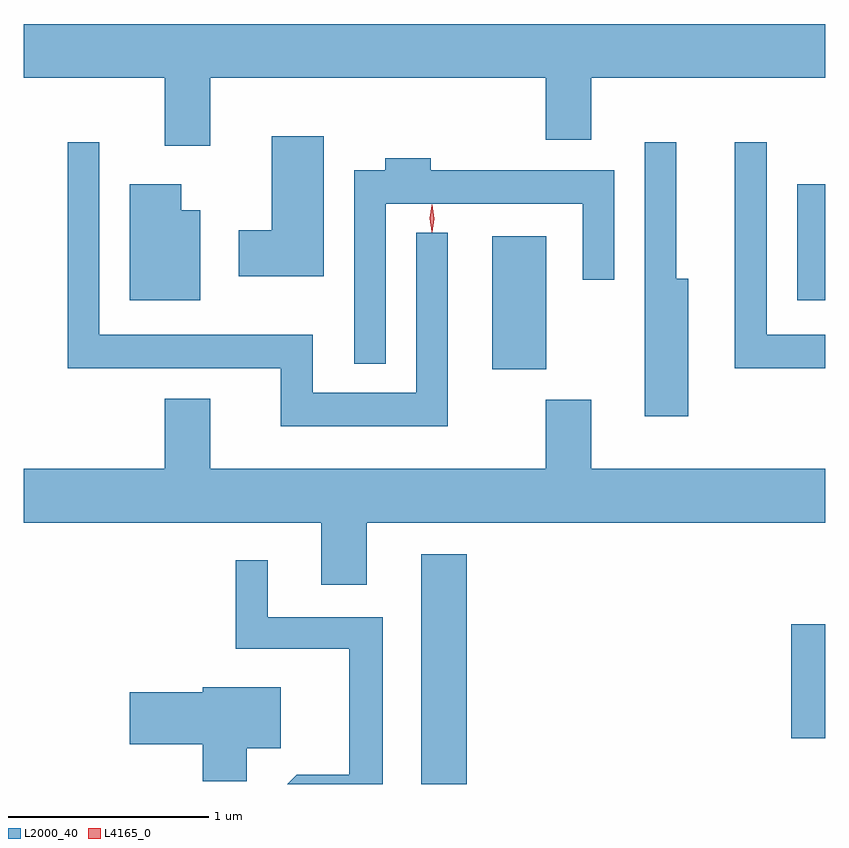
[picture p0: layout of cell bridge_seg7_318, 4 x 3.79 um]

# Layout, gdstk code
import gdstk
lib = gdstk.Library(unit=1e-6, precision=1e-09)
def R(c, l, rs):  # rectangles x0, y0, x1, y1
    for r in rs: c.add(gdstk.rectangle(r[:2], r[2:], *l))
def P(c, l, *ps):  # polygons
    for p in ps: c.add(gdstk.Polygon(p, *l))
L2000_40 = (2000, 40)
L4165_0 = (4165, 0)

bridge_seg7_318 = lib.new_cell('bridge_seg7_318')
R(bridge_seg7_318, L2000_40, [(1205.021,1761.852,1205.249,1762.999), (1206.866,1762.081,1207.037,1762.649), (1205.376,1763.921,1205.644,1764.584), (1206.896,1764.266,1207.037,1764.844)])
P(bridge_seg7_318, L2000_40, [(1203.969,1765.376),(1205.641,1765.376),(1205.641,1765.066),(1205.869,1765.066),(1205.869,1765.376),(1207.037,1765.376),(1207.037,1765.644),(1203.037,1765.644),(1203.037,1765.376),(1203.741,1765.376),(1203.741,1765.036),(1203.969,1765.036)],
  [(1204.534,1765.084),(1204.276,1765.084),(1204.276,1764.614),(1204.111,1764.614),(1204.111,1764.386),(1204.534,1764.386)],
  [(1206.354,1764.374),(1206.294,1764.374),(1206.294,1765.053),(1206.136,1765.053),(1206.136,1763.686),(1206.354,1763.686)],
  [(1205.154,1764.603),(1204.996,1764.603),(1204.996,1763.804),(1204.479,1763.804),(1204.479,1764.094),(1203.414,1764.094),(1203.414,1765.053),(1203.256,1765.053),(1203.256,1763.926),(1204.321,1763.926),(1204.321,1763.636),(1205.154,1763.636)],
  [(1207.037,1764.094),(1206.744,1764.094),(1206.744,1765.053),(1206.586,1765.053),(1206.586,1763.926),(1207.037,1763.926)],
  [(1204.844,1764.746),(1205.826,1764.746),(1205.826,1764.368),(1205.984,1764.368),(1205.984,1764.914),(1205.069,1764.914),(1205.069,1764.974),(1204.841,1764.974),(1204.841,1764.914),(1204.686,1764.914),(1204.686,1763.948),(1204.844,1763.948)],
  [(1203.919,1764.714),(1203.824,1764.714),(1203.824,1764.844),(1203.566,1764.844),(1203.566,1764.266),(1203.919,1764.266)],
  [(1204.749,1763.156),(1207.037,1763.156),(1207.037,1763.424),(1205.869,1763.424),(1205.869,1763.769),(1205.641,1763.769),(1205.641,1763.424),(1203.969,1763.424),(1203.969,1763.774),(1203.741,1763.774),(1203.741,1763.424),(1203.037,1763.424),(1203.037,1763.156),(1204.521,1763.156),(1204.521,1762.846),(1204.749,1762.846)],
  [(1204.829,1762.684),(1204.254,1762.684),(1204.254,1762.968),(1204.096,1762.968),(1204.096,1762.526),(1204.661,1762.526),(1204.661,1761.899),(1204.399,1761.899),(1204.352,1761.852),(1204.829,1761.852)],
  [(1204.149,1762.031),(1204.319,1762.031),(1204.319,1762.334),(1203.931,1762.334),(1203.931,1762.309),(1203.566,1762.309),(1203.566,1762.051),(1203.931,1762.051),(1203.931,1761.866),(1204.149,1761.866)])
P(bridge_seg7_318, L4165_0, [(1205.074,1764.604),(1205.065,1764.673),(1205.074,1764.742),(1205.074,1764.743),(1205.075,1764.742),(1205.085,1764.673),(1205.075,1764.604),(1205.075,1764.604)],
  [(1205.073,1764.607),(1205.064,1764.674),(1205.073,1764.74),(1205.074,1764.741),(1205.074,1764.74),(1205.084,1764.674),(1205.074,1764.607),(1205.074,1764.607)])

lib.write_gds('bridge_seg7_318.gds')
